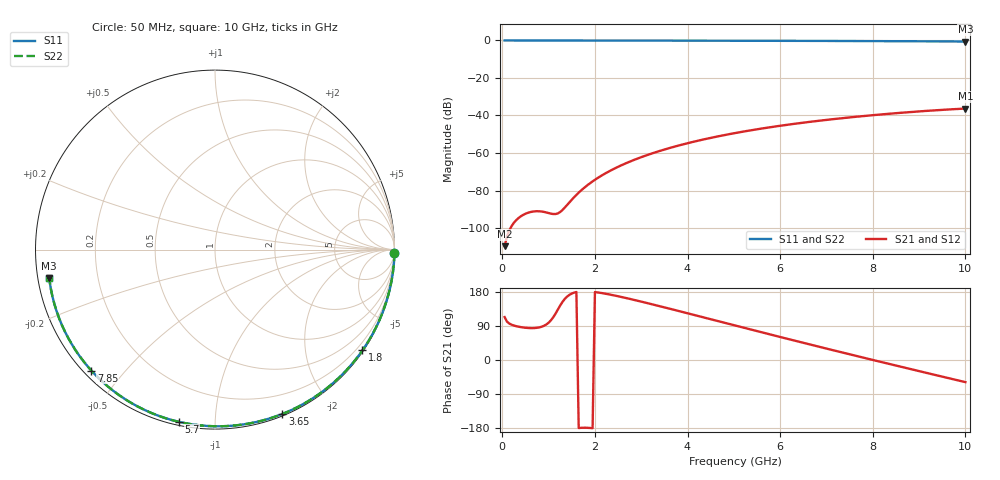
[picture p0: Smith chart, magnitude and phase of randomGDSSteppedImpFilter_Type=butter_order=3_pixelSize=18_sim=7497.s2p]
! freq	dB(S11)	phase(S11)	dB(S12)	phase(S12)
!  dB(S21)	phase(S21)	dB(S22)	phase(S22)
!S-par simulation data
#  GHz  S  DB  R 50
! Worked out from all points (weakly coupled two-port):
!   200 points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, 50 MHz to 10 GHz, reference 50 ohm
!   highest |S21| = -36.29 dB at 10 GHz (marker M1); lowest = -109.7 dB at 50 MHz (marker M2)
!   lowest |S11| = -0.6 dB at 10 GHz (marker M3), VSWR 30.75, Z = 1.64 - j4.27 ohm
!   |S11| at or under -10 dB: nowhere
!   |S22| runs from -0.6 to 0.0 dB; largest |S21 - S12| = 0
!   S11 on the Smith chart (normalised r, x): 50 MHz: open; 1.8 GHz: 0.03, -3.23; 3.65 GHz: 0.02, -1.49; 5.7 GHz: 0.02, -0.81; 7.85 GHz: 0.02, -0.41; 10 GHz: 0.03, -0.09
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0.05  -0.00 -1.0  -109.66 113.3  -109.66 113.3  -0.00 -1.0
0.45  -0.01 -8.7  -92.98 85.8  -92.98 85.8  -0.01 -8.7
0.85  -0.02 -16.4  -91.18 87.8  -91.18 87.8  -0.02 -16.4
1.7  -0.04 -32.5  -79.99 -178.9  -79.99 -178.9  -0.04 -32.5
1.75  -0.04 -33.4  -78.91 -178.7  -78.91 -178.7  -0.04 -33.4
1.8  -0.04 -34.4  -77.90 -178.7  -77.90 -178.7  -0.04 -34.4
1.95  -0.05 -37.1  -75.12 -179.9  -75.12 -179.9  -0.05 -37.2
2.1  -0.05 -39.9  -72.68 177.6  -72.68 177.6  -0.05 -39.9
2.45  -0.06 -46.3  -67.94 169.6  -67.94 169.6  -0.06 -46.4
2.9  -0.07 -54.5  -63.14 157.0  -63.14 157.0  -0.07 -54.5
3.4  -0.08 -63.3  -58.89 142.0  -58.89 142.0  -0.08 -63.4
3.65  -0.09 -67.7  -57.07 134.3  -57.07 134.3  -0.09 -67.7
4.35  -0.11 -79.7  -52.74 112.4  -52.74 112.4  -0.11 -79.7
5.05  -0.14 -91.3  -49.26 90.4  -49.26 90.4  -0.14 -91.3
5.7  -0.17 -101.9  -46.57 70.0  -46.57 70.0  -0.17 -101.9
6.2  -0.20 -109.8  -44.79 54.6  -44.79 54.6  -0.20 -109.8
6.7  -0.23 -117.7  -43.21 39.2  -43.21 39.2  -0.23 -117.7
7.25  -0.27 -126.3  -41.66 22.6  -41.66 22.6  -0.27 -126.3
7.85  -0.32 -135.6  -40.17 4.6  -40.17 4.6  -0.32 -135.6
8.35  -0.37 -143.4  -39.07 -10.2  -39.07 -10.2  -0.37 -143.5
9.2  -0.46 -157.0  -37.48 -35.2  -37.48 -35.2  -0.46 -157.0
10  -0.57 -170.2  -36.29 -58.4  -36.29 -58.4  -0.57 -170.2
